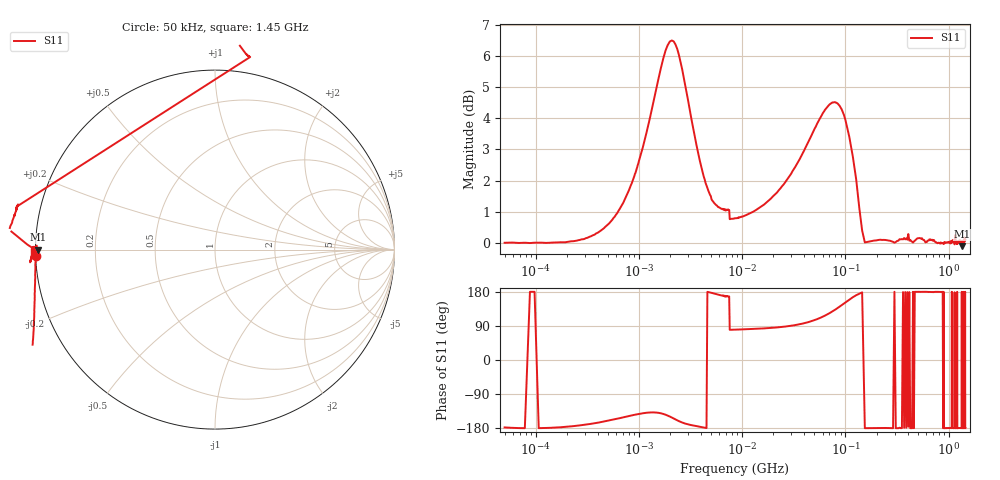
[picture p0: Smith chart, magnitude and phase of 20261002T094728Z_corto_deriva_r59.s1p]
! piloto_deriva / corto_deriva / r59
# HZ S RI R 50
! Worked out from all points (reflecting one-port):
!   501 points, 50 kHz to 1.45 GHz, reference 50 ohm
!   lowest |S11| = -0.1 dB at 1.351 GHz (marker M1), VSWR 150.70, Z = 0.332 - j0.0194 ohm
!   phase of S11 starts at -178 deg and turns -2 deg over the sweep
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50000  -0.9987 -0.0362
183000  -0.9999 -0.0523
363500  -1.004 -0.2243
658000  -1.015 -0.5115
1180000  -1.137 -0.9789
1630000  -1.476 -1.212
1990000  -1.81 -1.08
2170000  -1.903 -0.9089
2440000  -1.9 -0.6405
3070000  -1.631 -0.2683
4330000  -1.264 -0.0311
7300000  -1.106 0.2384
7750000  0.1946 1.074
8560000  0.188 1.078
1.99e7  0.1006 1.183
3.16e7  -0.0347 1.313
4.69e7  -0.3229 1.454
6.76e7  -0.8602 1.418
7.93e7  -1.14 1.238
9.37e7  -1.355 0.8997
9.82e7  -1.384 0.7841
1e8  -1.391 0.738
1.18e8  -1.332 0.337
1.36e8  -1.134 0.1006
1.63e8  -1.002 -0.00313
4.06e8  -1.03 -0.0709
1.351e9  -0.9868 -0.000767
1.45e9  -1.011 -0.00507
